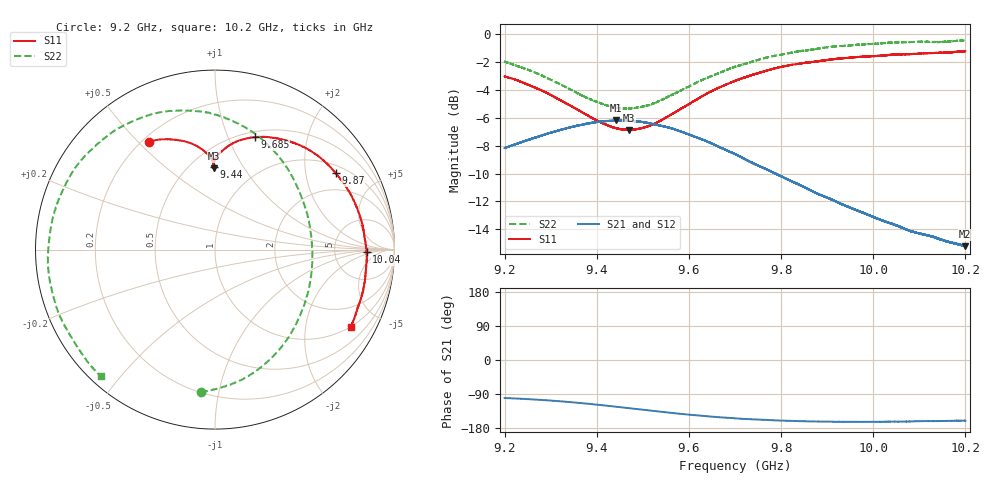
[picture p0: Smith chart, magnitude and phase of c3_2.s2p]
!Agilent Technologies,N5242A,MY51221714,A.09.90.19
!Agilent N5242A: A.09.90.19
!Date: Saturday, December 30, 2023 10:24:21
!Correction: S11(Full 2 Port(1,2))
!S21(Full 2 Port(1,2))
!S12(Full 2 Port(1,2))
!S22(Full 2 Port(1,2))
!S2P File: Measurements: S11, S21, S12, S22:
# Hz S  dB  R 50
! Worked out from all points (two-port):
!   16001 points, 9.2 GHz to 10.2 GHz, reference 50 ohm
!   highest |S21| = -6.19 dB at 9.442 GHz (marker M1); lowest = -15.2 dB at 10.2 GHz (marker M2)
!   |S21| within 3 dB of the highest: start of sweep to 9.734 GHz; 9.734647 GHz to 9.734876 GHz (229.3 kHz wide, 0.00236 % of centre)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
!   lowest |S11| = -6.9 dB at 9.47 GHz (marker M3), VSWR 2.66, Z = 32.6 + j37.1 ohm
!   |S11| at or under -10 dB: nowhere
!   |S22| runs from -5.4 to -0.4 dB; largest |S21 - S12| = 0.0081
!   S11 on the Smith chart (normalised r, x): 9.2 GHz: 0.22, +0.54; 9.44 GHz: 0.64, +0.76; 9.685 GHz: 0.56, +1.26; 9.87 GHz: 1.27, +2.95; 10.04 GHz: 12, -1; 10.2 GHz: 1.00, -3.52
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9.2e9  -3.03 121.6  -8.17 -100.4  -8.15 -101.0  -1.97 -95.6
9.277875e9  -4.00 106.5  -7.30 -105.2  -7.28 -105.9  -2.92 -71.6
9.319812e9  -4.70 99.5  -6.87 -108.9  -6.85 -109.5  -3.59 -57.3
9.366688e9  -5.57 93.8  -6.51 -113.8  -6.48 -114.5  -4.37 -39.8
9.440438e9  -6.72 90.5  -6.20 -123.1  -6.19 -123.9  -5.25 -7.1
9.441562e9  -6.74 90.4  -6.19 -123.3  -6.20 -124.1  -5.26 -6.6
9.469625e9  -6.88 90.9  -6.22 -127.1  -6.21 -127.8  -5.33 6.9
9.533375e9  -6.29 90.8  -6.53 -135.8  -6.53 -136.5  -4.83 36.2
9.615125e9  -4.71 82.8  -7.38 -145.8  -7.38 -146.5  -3.50 67.2
9.685062e9  -3.55 70.5  -8.38 -152.5  -8.37 -153.3  -2.52 88.9
9.7e9  -3.34 67.4  -8.60 -153.9  -8.56 -154.7  -2.32 92.9
9.779438e9  -2.50 51.0  -9.87 -158.8  -9.86 -159.6  -1.59 115.1
9.825938e9  -2.18 41.4  -10.61 -160.7  -10.59 -161.5  -1.30 127.7
9.866688e9  -1.99 32.9  -11.23 -162.2  -11.24 -162.9  -1.09 138.2
9.869562e9  -1.98 32.3  -11.29 -162.1  -11.29 -162.9  -1.09 139.1
9.912125e9  -1.78 23.8  -11.90 -162.9  -11.87 -163.6  -0.89 150.3
9.957875e9  -1.66 14.9  -12.57 -163.1  -12.56 -163.9  -0.78 162.6
1.003338e10  -1.49 0.5  -13.54 -162.8  -13.52 -163.5  -0.61 -177.2
1.004169e10  -1.47 -1.0  -13.63 -162.7  -13.62 -163.4  -0.59 -175.0
1.011338e10  -1.36 -13.9  -14.42 -161.3  -14.39 -162.0  -0.54 -155.7
1.019988e10  -1.22 -29.6  -15.22 -160.1  -15.21 -160.8  -0.46 -132.2
1.02e10  -1.22 -29.6  -15.20 -160.1  -15.21 -160.8  -0.45 -132.1
